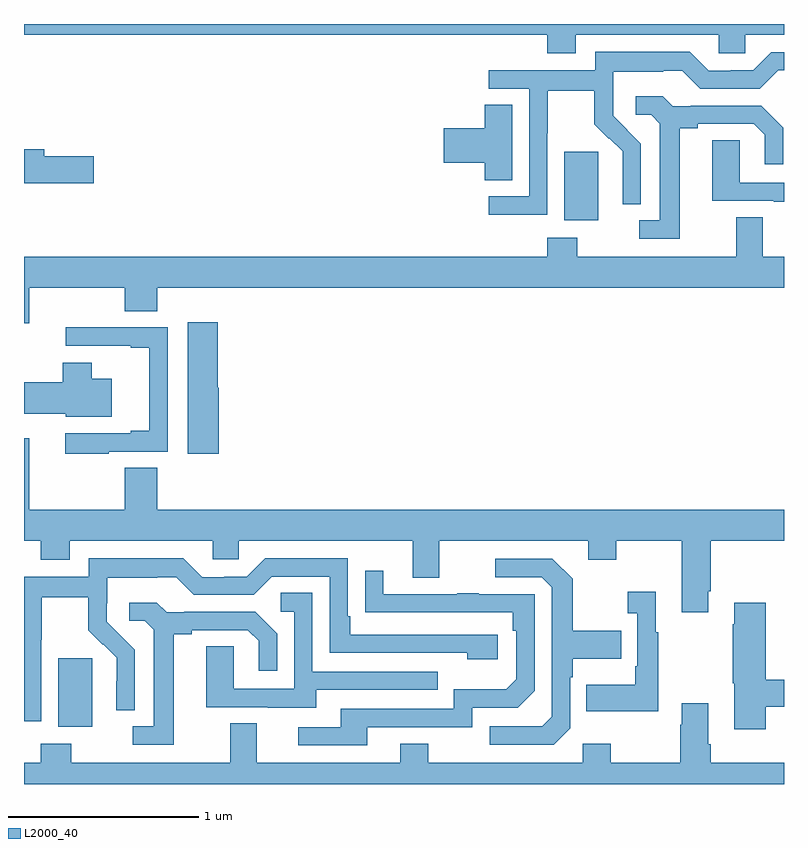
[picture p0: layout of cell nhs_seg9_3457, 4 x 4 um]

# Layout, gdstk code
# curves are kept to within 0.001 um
import gdstk
lib = gdstk.Library(unit=1e-6, precision=1e-09)
def R(c, l, rs):  # rectangles x0, y0, x1, y1
    for r in rs: c.add(gdstk.rectangle(r[:2], r[2:], *l))
def P(c, l, *ps):  # polygons
    for p in ps: c.add(gdstk.Polygon(p, *l))
L2000_40 = (2000, 40)

nhs_seg9_3457 = lib.new_cell('nhs_seg9_3457')
R(nhs_seg9_3457, L2000_40, [(309.179,1168.802,309.358,1169.163), (311.843,1171.466,312.022,1171.827)])
P(nhs_seg9_3457, L2000_40, [(311.905,1172.444),(312.657,1172.444),(312.657,1172.346),(312.795,1172.346),(312.795,1172.444),(313,1172.444),(313,1172.5),(309,1172.5),(309,1172.444),(311.753,1172.444),(311.753,1172.345),(311.905,1172.345)],
  [(311.754,1171.924),(311.757,1171.924),(311.757,1172.148),(312.001,1172.148),(312.001,1171.973),(312.078,1171.896),(312.081,1171.899),(312.152,1171.829),(312.152,1171.706),(312.15,1171.706),(312.15,1171.552),(312.246,1171.552),(312.246,1171.87),(312.1,1172.018),(312.1,1172.115),(312.102,1172.115),(312.102,1172.249),(312.365,1172.249),(312.365,1172.253),(312.465,1172.253),(312.558,1172.16),(312.873,1172.16),(312.969,1172.256),(313,1172.256),(313,1172.352),(312.933,1172.352),(312.837,1172.256),(312.719,1172.256),(312.719,1172.253),(312.603,1172.253),(312.503,1172.353),(312.006,1172.353),(312.006,1172.256),(311.445,1172.256),(311.445,1172.16),(311.658,1172.16),(311.658,1171.593),(311.445,1171.593),(311.445,1171.495),(311.754,1171.495)],
  [(312.451,1171.952),(312.547,1171.952),(312.547,1171.974),(312.842,1171.974),(312.899,1171.917),(312.899,1171.761),(312.996,1171.761),(312.996,1171.954),(312.88,1172.07),(312.508,1172.07),(312.508,1172.067),(312.414,1172.067),(312.362,1172.119),(312.219,1172.119),(312.219,1172.022),(312.3,1172.022),(312.347,1171.975),(312.347,1171.467),(312.237,1171.467),(312.237,1171.371),(312.451,1171.371)],
  [(311.569,1172.075),(311.426,1172.075),(311.426,1171.952),(311.208,1171.952),(311.208,1171.769),(311.426,1171.769),(311.426,1171.678),(311.569,1171.678)],
  [(313,1171.665),(312.768,1171.665),(312.768,1171.889),(312.623,1171.889),(312.623,1171.569),(312.947,1171.569),(312.947,1171.565),(313,1171.565)],
  [(309.367,1171.805),(309.106,1171.805),(309.106,1171.841),(309,1171.841),(309,1171.663),(309.367,1171.663)],
  [(309.028,1171.112),(309.53,1171.112),(309.53,1170.988),(309.701,1170.988),(309.701,1171.112),(313,1171.112),(313,1171.276),(312.889,1171.276),(312.889,1171.484),(312.749,1171.484),(312.749,1171.276),(311.913,1171.276),(311.913,1171.375),(311.753,1171.375),(311.753,1171.276),(309,1171.276),(309,1170.924),(309.028,1170.924)],
  [(310.024,1170.585),(310.019,1170.585),(310.019,1170.931),(309.863,1170.931),(309.863,1170.237),(310.024,1170.237)],
  [(309.446,1170.249),(309.756,1170.249),(309.756,1170.903),(309.446,1170.903),(309.446,1170.905),(309.219,1170.905),(309.219,1170.807),(309.563,1170.807),(309.563,1170.795),(309.659,1170.795),(309.659,1170.358),(309.563,1170.358),(309.563,1170.345),(309.216,1170.345),(309.216,1170.237),(309.446,1170.237)],
  [(309.463,1170.634),(309.357,1170.634),(309.357,1170.718),(309.203,1170.718),(309.203,1170.615),(309,1170.615),(309,1170.449),(309.219,1170.449),(309.219,1170.434),(309.463,1170.434)],
  [(312.601,1169.515),(312.614,1169.515),(312.614,1169.78),(313,1169.78),(313,1169.944),(309.701,1169.944),(309.701,1170.164),(309.53,1170.164),(309.53,1169.944),(309.028,1169.944),(309.028,1170.319),(309,1170.319),(309,1169.78),(309.089,1169.78),(309.089,1169.681),(309.241,1169.681),(309.241,1169.78),(309.993,1169.78),(309.993,1169.682),(310.131,1169.682),(310.131,1169.78),(311.045,1169.78),(311.045,1169.586),(311.185,1169.586),(311.185,1169.78),(311.969,1169.78),(311.969,1169.681),(312.117,1169.681),(312.117,1169.78),(312.461,1169.78),(312.461,1169.403),(312.601,1169.403)],
  [(309.09,1169.26),(309.093,1169.26),(309.093,1169.484),(309.337,1169.484),(309.337,1169.309),(309.414,1169.232),(309.417,1169.235),(309.488,1169.165),(309.488,1169.042),(309.486,1169.042),(309.486,1168.888),(309.582,1168.888),(309.582,1169.206),(309.436,1169.354),(309.436,1169.451),(309.438,1169.451),(309.438,1169.585),(309.701,1169.585),(309.701,1169.589),(309.801,1169.589),(309.894,1169.496),(310.209,1169.496),(310.305,1169.592),(310.608,1169.592),(310.608,1169.19),(311.333,1169.19),(311.333,1169.156),(311.494,1169.156),(311.494,1169.286),(310.717,1169.286),(310.717,1169.383),(310.704,1169.383),(310.704,1169.688),(310.269,1169.688),(310.173,1169.592),(310.055,1169.592),(310.055,1169.589),(309.939,1169.589),(309.839,1169.689),(309.342,1169.689),(309.342,1169.592),(309,1169.592),(309,1168.831),(309.09,1168.831)],
  [(311.874,1168.794),(311.874,1169.063),(311.887,1169.063),(311.887,1169.159),(312.143,1169.159),(312.143,1169.307),(311.887,1169.307),(311.887,1169.579),(311.781,1169.685),(311.481,1169.685),(311.481,1169.589),(311.724,1169.589),(311.778,1169.535),(311.778,1168.854),(311.727,1168.803),(311.451,1168.803),(311.451,1168.707),(311.787,1168.707)],
  [(310.807,1168.8),(311.358,1168.8),(311.358,1168.902),(311.598,1168.902),(311.688,1168.992),(311.688,1169.499),(311.393,1169.499),(311.393,1169.504),(311.281,1169.504),(311.281,1169.499),(310.891,1169.499),(310.891,1169.623),(310.795,1169.623),(310.795,1169.404),(311.572,1169.403),(311.572,1169.306),(311.592,1169.306),(311.592,1169.052),(311.539,1168.999),(311.262,1168.999),(311.262,1168.896),(310.667,1168.896),(310.667,1168.8),(310.443,1168.8),(310.443,1168.704),(310.807,1168.704)],
  [(312.337,1169.299),(312.325,1169.299),(312.325,1169.512),(312.177,1169.512),(312.177,1169.399),(312.228,1169.399),(312.228,1169.119),(312.216,1169.119),(312.216,1169.023),(311.959,1169.023),(311.959,1168.883),(312.337,1168.883)],
  [(310.537,1168.995),(311.177,1168.995),(311.177,1169.091),(310.518,1169.091),(310.518,1169.507),(310.35,1169.507),(310.35,1169.406),(310.422,1169.406),(310.422,1169.001),(310.104,1169.001),(310.104,1169.225),(309.959,1169.225),(309.959,1168.905),(310.283,1168.905),(310.283,1168.901),(310.537,1168.901)],
  [(312.905,1168.906),(313,1168.906),(313,1169.048),(312.905,1169.048),(312.905,1169.455),(312.737,1169.455),(312.737,1169.342),(312.73,1169.342),(312.73,1169.031),(312.737,1169.031),(312.737,1168.788),(312.905,1168.788)],
  [(309.787,1169.288),(309.883,1169.288),(309.883,1169.31),(310.178,1169.31),(310.235,1169.253),(310.235,1169.097),(310.332,1169.097),(310.332,1169.29),(310.216,1169.406),(309.844,1169.406),(309.844,1169.403),(309.75,1169.403),(309.698,1169.455),(309.555,1169.455),(309.555,1169.358),(309.636,1169.358),(309.683,1169.311),(309.683,1168.803),(309.573,1168.803),(309.573,1168.707),(309.787,1168.707)],
  [(313,1168.612),(312.614,1168.612),(312.614,1168.708),(312.601,1168.708),(312.601,1168.924),(312.461,1168.924),(312.461,1168.811),(312.454,1168.811),(312.454,1168.612),(312.087,1168.612),(312.087,1168.711),(311.94,1168.711),(311.94,1168.612),(311.127,1168.612),(311.127,1168.711),(310.979,1168.711),(310.979,1168.612),(310.225,1168.612),(310.225,1168.82),(310.085,1168.82),(310.085,1168.612),(309.249,1168.612),(309.249,1168.711),(309.089,1168.711),(309.089,1168.612),(309,1168.612),(309,1168.5),(313,1168.5)])

lib.write_gds('nhs_seg9_3457.gds')
